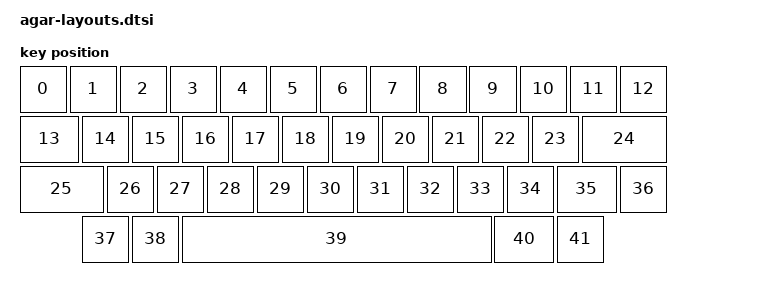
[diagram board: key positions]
#include <physical_layouts.dtsi>

/ {
    physical_layout_agar: physical_layout_agar {
        compatible = "zmk,physical-layout";
        display-name = "Agar Mini";
        keys  //                     w   h    x    y     rot    rx    ry
            = <&key_physical_attrs 100 100    0    0       0     0     0>
            , <&key_physical_attrs 100 100  100    0       0   100     0>
            , <&key_physical_attrs 100 100  200    0       0   200     0>
            , <&key_physical_attrs 100 100  300    0       0   300     0>
            , <&key_physical_attrs 100 100  400    0       0   400     0>
            , <&key_physical_attrs 100 100  500    0       0   500     0>
            , <&key_physical_attrs 100 100  600    0       0   600     0>
            , <&key_physical_attrs 100 100  700    0       0   700     0>
            , <&key_physical_attrs 100 100  800    0       0   800     0>
            , <&key_physical_attrs 100 100  900    0       0   900     0>
            , <&key_physical_attrs 100 100 1000    0       0  1000     0>
            , <&key_physical_attrs 100 100 1100    0       0  1100     0>
            , <&key_physical_attrs 100 100 1200    0       0  1200     0>
            , <&key_physical_attrs 125 100    0  100       0     0   100>
            , <&key_physical_attrs 100 100  125  100       0   125   100>
            , <&key_physical_attrs 100 100  225  100       0   225   100>
            , <&key_physical_attrs 100 100  325  100       0   325   100>
            , <&key_physical_attrs 100 100  425  100       0   425   100>
            , <&key_physical_attrs 100 100  525  100       0   525   100>
            , <&key_physical_attrs 100 100  625  100       0   625   100>
            , <&key_physical_attrs 100 100  725  100       0   725   100>
            , <&key_physical_attrs 100 100  825  100       0   825   100>
            , <&key_physical_attrs 100 100  925  100       0   925   100>
            , <&key_physical_attrs 100 100 1025  100       0  1025   100>
            , <&key_physical_attrs 175 100 1125  100       0  1125   100>
            , <&key_physical_attrs 175 100    0  200       0     0   200>
            , <&key_physical_attrs 100 100  175  200       0   175   200>
            , <&key_physical_attrs 100 100  275  200       0   275   200>
            , <&key_physical_attrs 100 100  375  200       0   375   200>
            , <&key_physical_attrs 100 100  475  200       0   475   200>
            , <&key_physical_attrs 100 100  575  200       0   575   200>
            , <&key_physical_attrs 100 100  675  200       0   675   200>
            , <&key_physical_attrs 100 100  775  200       0   775   200>
            , <&key_physical_attrs 100 100  875  200       0   875   200>
            , <&key_physical_attrs 100 100  975  200       0   975   200>
            , <&key_physical_attrs 125 100 1075  200       0  1075   200>
            , <&key_physical_attrs 100 100 1200  200       0  1200   200>
            , <&key_physical_attrs 100 100  125  300       0   125   300>
            , <&key_physical_attrs 100 100  225  300       0   225   300>
            , <&key_physical_attrs 625 100  325  300       0   325   300>
            , <&key_physical_attrs 125 100  950  300       0   950   300>
            , <&key_physical_attrs 100 100 1075  300       0  1075   300>
            ;
    };
};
